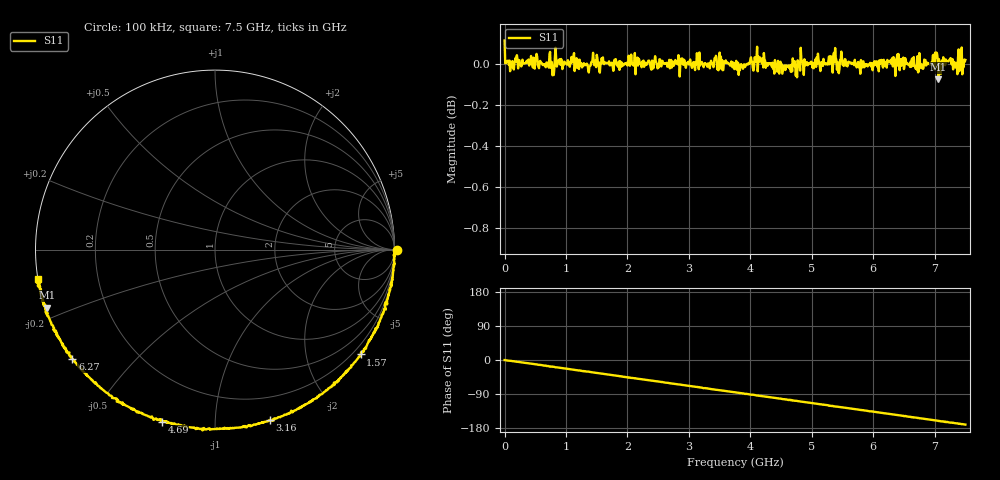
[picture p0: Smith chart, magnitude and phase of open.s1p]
# Hz S RI R 50.000000
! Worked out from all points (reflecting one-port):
!   751 points, 100 kHz to 7.5 GHz, reference 50 ohm
!   lowest |S11| = -0.1 dB at 7.06 GHz (marker M1), VSWR 224.92, Z = 0.229 - j8.37 ohm
!   phase of S11 starts at -0 deg and turns -170 deg over the sweep
!   S11 on the Smith chart (normalised r, x): 100 kHz: open; 1.57 GHz: 0.00, -3.10; 3.16 GHz: 0.00, -1.37; 4.69 GHz: -0.00, -0.74; 6.27 GHz: -0.00, -0.34; 7.5 GHz: -0.00, -0.08
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100000  1.013 -0.00315
5.000933e8  0.9836 -0.1958
6.900908e8  0.9621 -0.2748
7.100905e8  0.96 -0.2768
7.800896e8  0.9486 -0.2951
9.400875e8  0.9282 -0.3636
1.100085e9  0.9068 -0.423
1.570079e9  0.8115 -0.5841
1.880075e9  0.7378 -0.677
2.040073e9  0.69 -0.7221
2.330069e9  0.6018 -0.7994
2.550066e9  0.5251 -0.8491
2.820062e9  0.4357 -0.8996
3.160058e9  0.3056 -0.9488
3.440054e9  0.1978 -0.9847
3.75005e9  0.0826 -0.9969
4.140045e9  -0.0741 -0.9983
4.690037e9  -0.2967 -0.958
5.090032e9  -0.4334 -0.9012
5.22003e9  -0.48 -0.8767
5.300029e9  -0.5179 -0.8602
5.630025e9  -0.6155 -0.7885
5.920021e9  -0.7033 -0.7098
6.270016e9  -0.7948 -0.6093
6.570012e9  -0.86 -0.509
7.060006e9  -0.9371 -0.3229
7.260003e9  -0.9706 -0.2529
7.5e9  -0.9881 -0.1662
